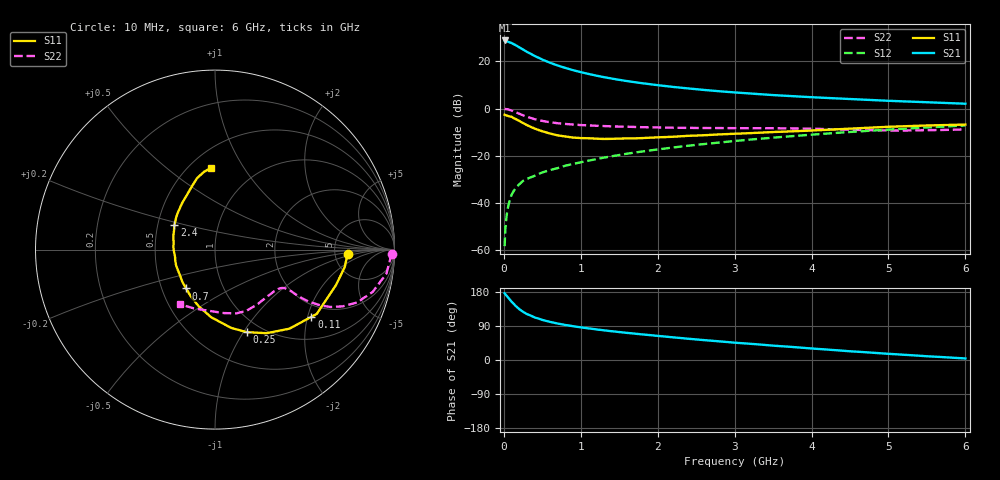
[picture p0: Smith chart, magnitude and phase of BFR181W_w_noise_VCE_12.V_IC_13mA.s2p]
! Infineon Technologies  Discrete & RF Semiconductors
! BFR181W
! VCE =  12. V,  IC =  13 mA
! Common Emitter S-Parameters:  Jan 2017
# GHz  S  MA  R  50
!  f  S11  S21  S12  S22
! GHz  MAG  ANG  MAG  ANG  MAG  ANG  MAG  ANG
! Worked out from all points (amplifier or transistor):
!   77 points, 10 MHz to 6 GHz, reference 50 ohm
!   highest |S21| = 28.9 dB at 10 MHz (marker M1)
!   |S21| within 3 dB of that: start of sweep to 205 MHz
!   unconditionally stable (mu >= 1): 999.6 MHz to 2.898 GHz
!   at 130 MHz: K = 0.32, MSG = 31.1 dB, |S12| = -34.9 dB
!   at 2.2 GHz: K = 1.04, MAG = 11.6 dB, |S12| = -16.5 dB
!   at 6 GHz: K = 0.85, MSG = 4.6 dB, |S12| = -7.2 dB
!   lowest NFmin = 1.39 dB at 450 MHz
!   S11 on the Smith chart (normalised r, x): 10 MHz: 6.58, -0.75; 110 MHz: 1.61, -2.11; 250 MHz: 0.85, -1.03; 700 MHz: 0.66, -0.31; 2.4 GHz: 0.61, +0.18; 6 GHz: 0.63, +0.73
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0.01  0.7392 -2.0  27.89 176.2  0.0012 78.8  0.985 -1.4
0.02  0.7292 -7.7  27.43 173.2  0.0028 86.1  0.9783 -2.9
0.05  0.7019 -16.5  26.42 166.2  0.0074 78.9  0.9648 -7.9
0.1  0.6707 -32.3  24.63 153.8  0.0147 76.0  0.9099 -15.0
0.11  0.6545 -34.9  24.11 151.9  0.0158 74.1  0.8963 -16.0
0.15  0.6051 -46.7  22.34 143.4  0.0202 68.4  0.845 -20.4
0.2  0.5474 -58.3  19.96 134.3  0.0246 66.6  0.7777 -24.0
0.25  0.4922 -69.1  17.89 127.1  0.0292 63.6  0.7191 -26.4
0.3  0.4455 -78.3  15.99 121.2  0.0321 64.1  0.6683 -27.8
0.4  0.3772 -93.3  13.1 112.3  0.0373 62.6  0.5955 -29.1
0.5  0.3294 -105.8  10.95 105.8  0.0441 62.7  0.5465 -29.2
0.6  0.2953 -116.7  9.399 100.6  0.0494 64.0  0.513 -29.0
0.7  0.2699 -126.6  8.196 96.2  0.0545 65.3  0.4883 -28.7
0.9  0.2423 -143.5  6.528 89.2  0.0667 66.4  0.4579 -28.8
1.1  0.2342 -157.4  5.433 83.5  0.0783 67.7  0.4392 -29.2
1.5  0.2303 -179.7  4.07 73.8  0.1033 68.3  0.4145 -32.0
2.1  0.2482 157.9  3.005 61.8  0.1422 67.3  0.3946 -39.7
2.4  0.2641 149.2  2.671 56.0  0.1629 66.3  0.3887 -44.7
3.1  0.2962 133.1  2.144 44.3  0.2119 62.8  0.3833 -56.5
4.1  0.3479 115.8  1.711 29.0  0.2867 56.3  0.37 -73.8
5.1  0.4155 102.8  1.441 15.1  0.3649 48.3  0.3421 -98.1
6  0.4577 92.6  1.267 4.1  0.4379 40.1  0.3615 -122.5
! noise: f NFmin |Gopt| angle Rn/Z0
0.45  1.39  0.08  17  0.21
0.9  1.43  0.08  31  0.21
1.9  1.86  0.09  -144  0.21
2.4  2.07  0.11  -109  0.26
